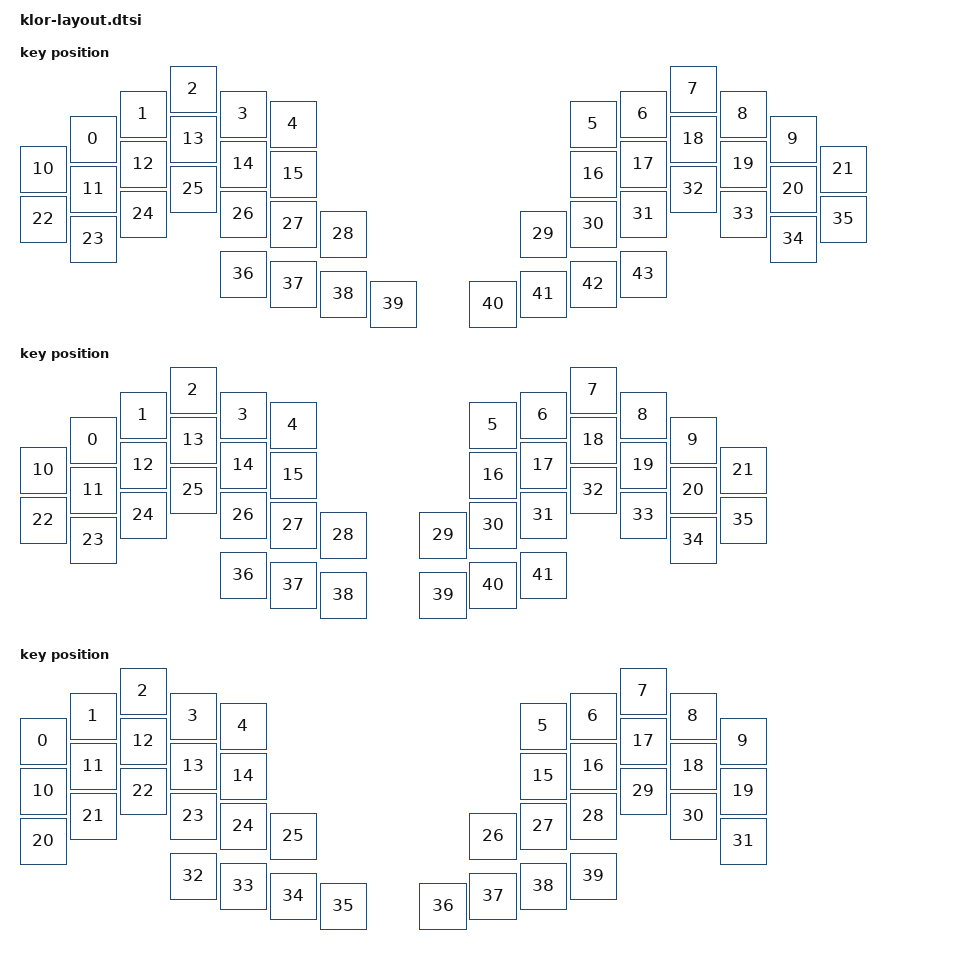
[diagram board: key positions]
/*
 * Copyright (c) 2025 The ZMK Contributors
 *
 * SPDX-License-Identifier: MIT
 */

#include <physical_layouts.dtsi>

/ {
    layout_polydactyl: layout_polydactyl {
        compatible = "zmk,physical-layout";
        display-name = "polydactyl";

        transform = <&polydactyl_transform>;
        kscan = <&kscan0>;

        keys  //                     w   h    x    y     rot    rx    ry
            = <&key_physical_attrs 100 100  100  100       0     0     0>
            , <&key_physical_attrs 100 100  200   50       0     0     0>
            , <&key_physical_attrs 100 100  300    0       0     0     0>
            , <&key_physical_attrs 100 100  400   50       0     0     0>
            , <&key_physical_attrs 100 100  500   70       0     0     0>
            , <&key_physical_attrs 100 100 1100   70       0     0     0>
            , <&key_physical_attrs 100 100 1200   50       0     0     0>
            , <&key_physical_attrs 100 100 1300    0       0     0     0>
            , <&key_physical_attrs 100 100 1400   50       0     0     0>
            , <&key_physical_attrs 100 100 1500  100       0     0     0>
            , <&key_physical_attrs 100 100    0  160       0     0     0>
            , <&key_physical_attrs 100 100  100  200       0     0     0>
            , <&key_physical_attrs 100 100  200  150       0     0     0>
            , <&key_physical_attrs 100 100  300  100       0     0     0>
            , <&key_physical_attrs 100 100  400  150       0     0     0>
            , <&key_physical_attrs 100 100  500  170       0     0     0>
            , <&key_physical_attrs 100 100 1100  170       0     0     0>
            , <&key_physical_attrs 100 100 1200  150       0     0     0>
            , <&key_physical_attrs 100 100 1300  100       0     0     0>
            , <&key_physical_attrs 100 100 1400  150       0     0     0>
            , <&key_physical_attrs 100 100 1500  200       0     0     0>
            , <&key_physical_attrs 100 100 1600  160       0     0     0>
            , <&key_physical_attrs 100 100    0  260       0     0     0>
            , <&key_physical_attrs 100 100  100  300       0     0     0>
            , <&key_physical_attrs 100 100  200  250       0     0     0>
            , <&key_physical_attrs 100 100  300  200       0     0     0>
            , <&key_physical_attrs 100 100  400  250       0     0     0>
            , <&key_physical_attrs 100 100  500  270       0     0     0>
            , <&key_physical_attrs 100 100  600  290       0     0     0>
            , <&key_physical_attrs 100 100 1000  290       0     0     0>
            , <&key_physical_attrs 100 100 1100  270       0     0     0>
            , <&key_physical_attrs 100 100 1200  250       0     0     0>
            , <&key_physical_attrs 100 100 1300  200       0     0     0>
            , <&key_physical_attrs 100 100 1400  250       0     0     0>
            , <&key_physical_attrs 100 100 1500  300       0     0     0>
            , <&key_physical_attrs 100 100 1600  260       0     0     0>
            , <&key_physical_attrs 100 100  400  370       0     0     0>
            , <&key_physical_attrs 100 100  500  390       0     0     0>
            , <&key_physical_attrs 100 100  600  410       0     0     0>
            , <&key_physical_attrs 100 100  700  430       0     0     0>
            , <&key_physical_attrs 100 100  900  430       0     0     0>
            , <&key_physical_attrs 100 100 1000  410       0     0     0>
            , <&key_physical_attrs 100 100 1100  390       0     0     0>
            , <&key_physical_attrs 100 100 1200  370       0     0     0>
            ;
    };

    layout_konrad: layout_konrad {
        compatible = "zmk,physical-layout";
        display-name = "konrad";

        transform = <&konrad_transform>;
        kscan = <&kscan0>;

        keys  //                     w   h    x    y     rot    rx    ry
            = <&key_physical_attrs 100 100  100  100       0     0     0>
            , <&key_physical_attrs 100 100  200   50       0     0     0>
            , <&key_physical_attrs 100 100  300    0       0     0     0>
            , <&key_physical_attrs 100 100  400   50       0     0     0>
            , <&key_physical_attrs 100 100  500   70       0     0     0>
            , <&key_physical_attrs 100 100  900   70       0     0     0>
            , <&key_physical_attrs 100 100 1000   50       0     0     0>
            , <&key_physical_attrs 100 100 1100    0       0     0     0>
            , <&key_physical_attrs 100 100 1200   50       0     0     0>
            , <&key_physical_attrs 100 100 1300  100       0     0     0>
            , <&key_physical_attrs 100 100    0  160       0     0     0>
            , <&key_physical_attrs 100 100  100  200       0     0     0>
            , <&key_physical_attrs 100 100  200  150       0     0     0>
            , <&key_physical_attrs 100 100  300  100       0     0     0>
            , <&key_physical_attrs 100 100  400  150       0     0     0>
            , <&key_physical_attrs 100 100  500  170       0     0     0>
            , <&key_physical_attrs 100 100  900  170       0     0     0>
            , <&key_physical_attrs 100 100 1000  150       0     0     0>
            , <&key_physical_attrs 100 100 1100  100       0     0     0>
            , <&key_physical_attrs 100 100 1200  150       0     0     0>
            , <&key_physical_attrs 100 100 1300  200       0     0     0>
            , <&key_physical_attrs 100 100 1400  160       0     0     0>
            , <&key_physical_attrs 100 100    0  260       0     0     0>
            , <&key_physical_attrs 100 100  100  300       0     0     0>
            , <&key_physical_attrs 100 100  200  250       0     0     0>
            , <&key_physical_attrs 100 100  300  200       0     0     0>
            , <&key_physical_attrs 100 100  400  250       0     0     0>
            , <&key_physical_attrs 100 100  500  270       0     0     0>
            , <&key_physical_attrs 100 100  600  290       0     0     0>
            , <&key_physical_attrs 100 100  800  290       0     0     0>
            , <&key_physical_attrs 100 100  900  270       0     0     0>
            , <&key_physical_attrs 100 100 1000  250       0     0     0>
            , <&key_physical_attrs 100 100 1100  200       0     0     0>
            , <&key_physical_attrs 100 100 1200  250       0     0     0>
            , <&key_physical_attrs 100 100 1300  300       0     0     0>
            , <&key_physical_attrs 100 100 1400  260       0     0     0>
            , <&key_physical_attrs 100 100  400  370       0     0     0>
            , <&key_physical_attrs 100 100  500  390       0     0     0>
            , <&key_physical_attrs 100 100  600  410       0     0     0>
            , <&key_physical_attrs 100 100  800  410       0     0     0>
            , <&key_physical_attrs 100 100  900  390       0     0     0>
            , <&key_physical_attrs 100 100 1000  370       0     0     0>
            ;
    };

    layout_yubitsume: layout_yubitsume {
        compatible = "zmk,physical-layout";
        display-name = "yubitsume";

        transform = <&yubitsume_transform>;
        kscan = <&kscan0>;

        keys  //                     w   h    x    y     rot    rx    ry
            = <&key_physical_attrs 100 100    0  100       0     0     0>
            , <&key_physical_attrs 100 100  100   50       0     0     0>
            , <&key_physical_attrs 100 100  200    0       0     0     0>
            , <&key_physical_attrs 100 100  300   50       0     0     0>
            , <&key_physical_attrs 100 100  400   70       0     0     0>
            , <&key_physical_attrs 100 100 1000   70       0     0     0>
            , <&key_physical_attrs 100 100 1100   50       0     0     0>
            , <&key_physical_attrs 100 100 1200    0       0     0     0>
            , <&key_physical_attrs 100 100 1300   50       0     0     0>
            , <&key_physical_attrs 100 100 1400  100       0     0     0>
            , <&key_physical_attrs 100 100    0  200       0     0     0>
            , <&key_physical_attrs 100 100  100  150       0     0     0>
            , <&key_physical_attrs 100 100  200  100       0     0     0>
            , <&key_physical_attrs 100 100  300  150       0     0     0>
            , <&key_physical_attrs 100 100  400  170       0     0     0>
            , <&key_physical_attrs 100 100 1000  170       0     0     0>
            , <&key_physical_attrs 100 100 1100  150       0     0     0>
            , <&key_physical_attrs 100 100 1200  100       0     0     0>
            , <&key_physical_attrs 100 100 1300  150       0     0     0>
            , <&key_physical_attrs 100 100 1400  200       0     0     0>
            , <&key_physical_attrs 100 100    0  300       0     0     0>
            , <&key_physical_attrs 100 100  100  250       0     0     0>
            , <&key_physical_attrs 100 100  200  200       0     0     0>
            , <&key_physical_attrs 100 100  300  250       0     0     0>
            , <&key_physical_attrs 100 100  400  270       0     0     0>
            , <&key_physical_attrs 100 100  500  290       0     0     0>
            , <&key_physical_attrs 100 100  900  290       0     0     0>
            , <&key_physical_attrs 100 100 1000  270       0     0     0>
            , <&key_physical_attrs 100 100 1100  250       0     0     0>
            , <&key_physical_attrs 100 100 1200  200       0     0     0>
            , <&key_physical_attrs 100 100 1300  250       0     0     0>
            , <&key_physical_attrs 100 100 1400  300       0     0     0>
            , <&key_physical_attrs 100 100  300  370       0     0     0>
            , <&key_physical_attrs 100 100  400  390       0     0     0>
            , <&key_physical_attrs 100 100  500  410       0     0     0>
            , <&key_physical_attrs 100 100  600  430       0     0     0>
            , <&key_physical_attrs 100 100  800  430       0     0     0>
            , <&key_physical_attrs 100 100  900  410       0     0     0>
            , <&key_physical_attrs 100 100 1000  390       0     0     0>
            , <&key_physical_attrs 100 100 1100  370       0     0     0>
            ;
    };

    layout_saegewerk: layout_saegewerk {
        compatible = "zmk,physical-layout";
        display-name = "saegewerk";

        transform = <&saegewerk_transform>;
        kscan = <&kscan0>;

        keys  //                     w   h    x    y     rot    rx    ry
            = <&key_physical_attrs 100 100    0  100       0     0     0>
            , <&key_physical_attrs 100 100  100   50       0     0     0>
            , <&key_physical_attrs 100 100  200    0       0     0     0>
            , <&key_physical_attrs 100 100  300   50       0     0     0>
            , <&key_physical_attrs 100 100  400   70       0     0     0>
            , <&key_physical_attrs 100 100  800   70       0     0     0>
            , <&key_physical_attrs 100 100  900   50       0     0     0>
            , <&key_physical_attrs 100 100 1000    0       0     0     0>
            , <&key_physical_attrs 100 100 1100   50       0     0     0>
            , <&key_physical_attrs 100 100 1200  100       0     0     0>
            , <&key_physical_attrs 100 100    0  200       0     0     0>
            , <&key_physical_attrs 100 100  100  150       0     0     0>
            , <&key_physical_attrs 100 100  200  100       0     0     0>
            , <&key_physical_attrs 100 100  300  150       0     0     0>
            , <&key_physical_attrs 100 100  400  170       0     0     0>
            , <&key_physical_attrs 100 100  800  170       0     0     0>
            , <&key_physical_attrs 100 100  900  150       0     0     0>
            , <&key_physical_attrs 100 100 1000  100       0     0     0>
            , <&key_physical_attrs 100 100 1100  150       0     0     0>
            , <&key_physical_attrs 100 100 1200  200       0     0     0>
            , <&key_physical_attrs 100 100    0  300       0     0     0>
            , <&key_physical_attrs 100 100  100  250       0     0     0>
            , <&key_physical_attrs 100 100  200  200       0     0     0>
            , <&key_physical_attrs 100 100  300  250       0     0     0>
            , <&key_physical_attrs 100 100  400  270       0     0     0>
            , <&key_physical_attrs 100 100  500  290       0     0     0>
            , <&key_physical_attrs 100 100  700  290       0     0     0>
            , <&key_physical_attrs 100 100  800  270       0     0     0>
            , <&key_physical_attrs 100 100  900  250       0     0     0>
            , <&key_physical_attrs 100 100 1000  200       0     0     0>
            , <&key_physical_attrs 100 100 1100  250       0     0     0>
            , <&key_physical_attrs 100 100 1200  300       0     0     0>
            , <&key_physical_attrs 100 100  300  370       0     0     0>
            , <&key_physical_attrs 100 100  400  390       0     0     0>
            , <&key_physical_attrs 100 100  500  410       0     0     0>
            , <&key_physical_attrs 100 100  700  410       0     0     0>
            , <&key_physical_attrs 100 100  800  390       0     0     0>
            , <&key_physical_attrs 100 100  900  370       0     0     0>
            ;
    };

    position_map {
        compatible = "zmk,physical-layout-position-map";

        layout_polydactyl {
            physical-layout = <&layout_polydactyl>;
            positions = <>;
        };

        layout_konrad {
            physical-layout = <&layout_konrad>;
            positions = <>;
        };

        layout_yubitsume {
            physical-layout = <&layout_yubitsume>;
            positions = <>;
        };

        layout_saegewerk {
            physical-layout = <&layout_saegewerk>;
            positions = <>;
        };
    };
};
